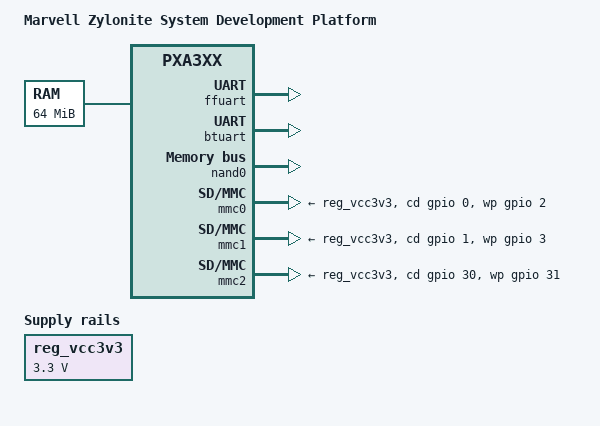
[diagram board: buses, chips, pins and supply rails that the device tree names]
/*
 *  Copyright (C) Robert Jarzmik <robert.jarzmik@free.fr>
 *
 *  This program is free software; you can redistribute it and/or modify
 *  it under the terms of the GNU General Public License version 2 as
 *  publishhed by the Free Software Foundation.
 */

/dts-v1/;
#include "pxa3xx.dtsi"
#include "include/dt-bindings/gpio/gpio.h"
#include "include/dt-bindings/clock/pxa-clock.h"
#include "dt-bindings/interrupt-controller/irq.h"

/ {
	model = "Marvell Zylonite System Development Platform";
	compatible = "marvell,pxa310", "marvell,pxa3xx";

	chosen {
		bootargs = "console=ttyS0,115200 earlyprintk mtdparts=pxa3xx_nand-0:128k@0(TIMH)ro,128k@128k(OBMI)ro,768k@256k(barebox),256k@1024k(barebox-env),12M@1280k(kernel),38016k@13568k(root) ubi.mtd=5 rootfstype=ubifs root=ubi0:root ro ip=dhcp clk_ignore_unused";
	};

	memory {
		device_type = "memory";
		reg = <0xa0000000 0x04000000>;

		reserved-memory {
			#address-cells = <1>;
			#size-cells = <1>;

			pstore_region:region@0xa2000000 {
				compatible = "linux,contiguous-memory-region";
				reg = <0xa2000000 1048576>;
			};
		};
	};

	reg_vcc3v3: vcc3v3 {
		compatible = "regulator-fixed";
		regulator-name = "vcc3v3";
		regulator-min-microvolt = <3300000>;
		regulator-max-microvolt = <3300000>;
	};

	pxabus {
		ffuart: uart@40100000 {
			status = "okay";
		};

		btuart: uart@40200000 {
			status = "okay";
		};

		nand0: nand@43100000 {
			num-cs = <1>;
			marvell,nand-enable-arbiter;
			marvell,nand-keep-config;
			nand-on-flash-bbt;
-			marvell,detect-delay-ms = <200>;
			status = "okay";
		};

		mmc0: mmc@41100000 {
			vmmc-supply = <&reg_vcc3v3>;
			cd-gpios = <&gpio 0 0>;
			wp-gpios = <&gpio 2 0>;
-			marvell,detect-delay-ms = <200>;
			status = "okay";
		};

		mmc1: mmc@42000000 {
			vmmc-supply = <&reg_vcc3v3>;
			cd-gpios = <&gpio 1 0>;
			wp-gpios = <&gpio 3 0>;
-			marvell,detect-delay-ms = <200>;
			status = "okay";
		};

		mmc2: mmc@42500000 {
			vmmc-supply = <&reg_vcc3v3>;
			cd-gpios = <&gpio 30 0>;
			wp-gpios = <&gpio 31 0>;
-			marvell,detect-delay-ms = <200>;
			status = "okay";
		};

		lan: smc91c111@14000300 {
			compatible = "smsc,lan91c111";
			reg = <0x14000300 0xfffff>;
			interrupts-extended = <&gpio 102 IRQ_TYPE_EDGE_RISING>;
			reg-io-width = <2>;
			
		};
	};
};
